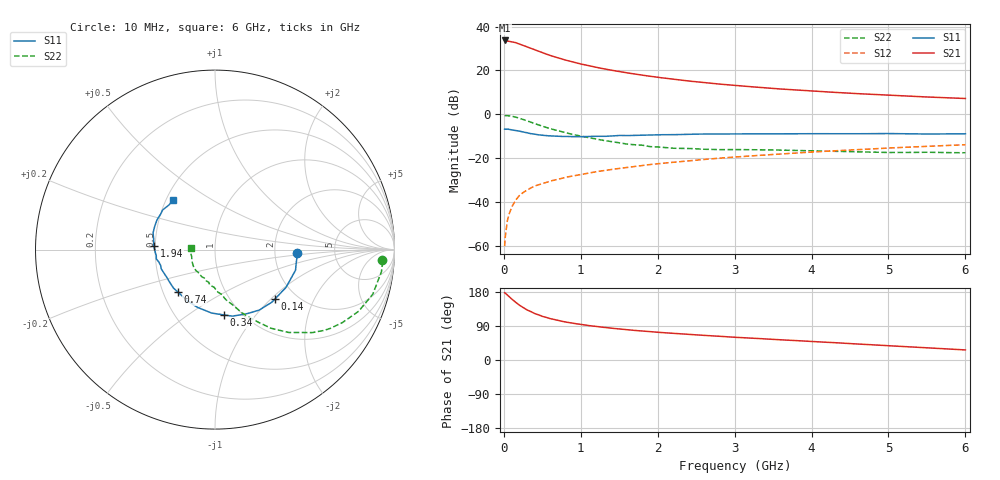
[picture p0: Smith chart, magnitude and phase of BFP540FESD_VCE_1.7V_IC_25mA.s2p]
! Infineon Technologies  Discrete & RF Semiconductors
! BFP540FESD
! VCE =  1.7 V,  IC =  25 mA
! Common Emitter S-Parameters:  Nov 2015
# GHz  S  MA  R  50
!  f  S11  S21  S12  S22
! GHz  MAG  ANG  MAG  ANG  MAG  ANG  MAG  ANG
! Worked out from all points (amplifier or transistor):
!   210 points, 10 MHz to 6 GHz, reference 50 ohm
!   highest |S21| = 33.6 dB at 10 MHz (marker M1)
!   |S21| within 3 dB of that: start of sweep to 307.6 MHz
!   unconditionally stable (mu >= 1): 1.575 GHz to end of sweep
!   at 185 MHz: K = 0.33, MSG = 34.9 dB, |S12| = -37.7 dB
!   at 1.52 GHz: K = 0.99, MSG = 21.9 dB, |S12| = -24.5 dB
!   at 6 GHz: K = 1.17, MAG = 8.1 dB, |S12| = -13.8 dB
!   S11 on the Smith chart (normalised r, x): 10 MHz: 2.70, -0.12; 140 MHz: 1.56, -1.06; 340 MHz: 0.84, -0.70; 740 MHz: 0.59, -0.31; 1.94 GHz: 0.49, +0.02; 6 GHz: 0.54, +0.34
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0.01  0.4598 -2.2  48.12 177.5  0.001 114.1  0.9324 -3.5
0.02  0.4579 -7.4  46.92 176.2  0.0017 118.1  0.9378 -2.4
0.05  0.4632 -14.3  46.68 170.7  0.0041 90.4  0.9355 -7.6
0.1  0.4482 -28.0  45.12 161.3  0.0075 82.4  0.9135 -15.8
0.14  0.4327 -39.7  43.39 154.6  0.0102 77.8  0.8785 -21.7
0.2  0.4175 -53.8  40.09 145.0  0.0141 74.1  0.8181 -29.8
0.24  0.4006 -62.4  37.76 139.8  0.0161 70.8  0.7765 -34.5
0.3  0.3828 -75.6  34.49 132.3  0.0187 68.6  0.7133 -40.4
0.34  0.3674 -82.2  32.35 128.8  0.0206 67.8  0.6735 -43.3
0.4  0.3542 -92.9  29.41 122.7  0.0234 66.9  0.6176 -48.4
0.5  0.3361 -107.1  25.35 115.2  0.0265 64.1  0.5369 -54.6
0.6  0.3238 -118.4  21.95 109.3  0.0302 64.0  0.4736 -59.0
0.74  0.3146 -131.6  18.52 103.0  0.0346 63.5  0.4078 -64.4
0.9  0.3115 -144.1  15.48 96.8  0.0397 63.3  0.3479 -69.8
1.02  0.3103 -151.0  13.79 93.3  0.0433 63.2  0.3147 -73.3
1.4  0.3213 -167.9  10.11 83.9  0.0557 62.6  0.2401 -85.4
1.94  0.3409 176.9  7.214 74.2  0.0733 60.7  0.1833 -102.7
2.02  0.3439 174.5  6.909 72.9  0.0756 60.2  0.1805 -105.6
3.1  0.3601 158.5  4.413 59.0  0.1099 54.8  0.1573 -132.6
4.1  0.3624 150.2  3.321 47.8  0.1418 48.7  0.1468 -148.7
5.1  0.3637 141.5  2.687 36.6  0.1745 40.7  0.1356 -164.9
6  0.3611 130.5  2.298 26.6  0.2036 33.3  0.1336 175.6
